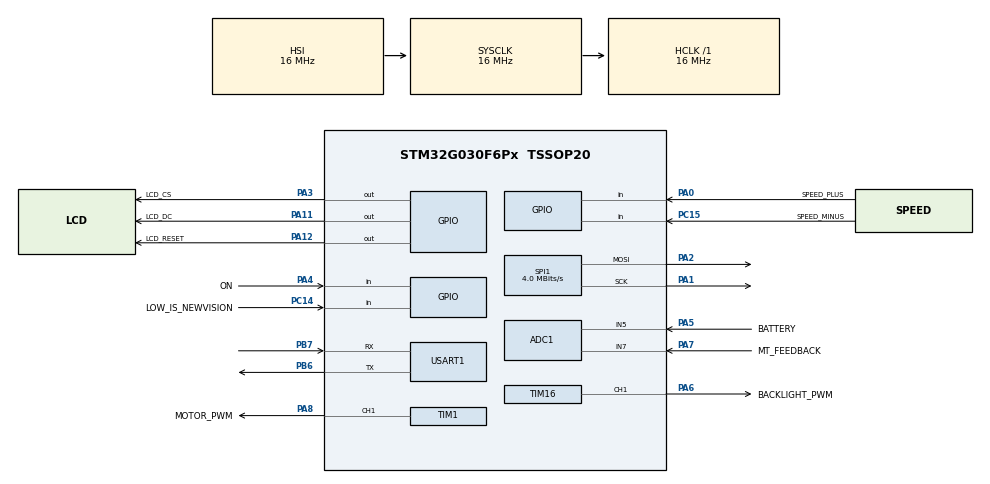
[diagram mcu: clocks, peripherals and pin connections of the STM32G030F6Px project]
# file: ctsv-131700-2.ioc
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ADC1.Channel-0\#ChannelRegularConversion=ADC_CHANNEL_7
ADC1.NbrOfConversionFlag=1
ADC1.Rank-0\#ChannelRegularConversion=1
ADC1.SamplingTime-0\#ChannelRegularConversion=ADC_SAMPLINGTIME_COMMON_1
ADC1.SelectedChannel=ADC_CHANNEL_5|ADC_CHANNEL_7
ADC1.master=1
Mcu.Family=STM32G0
Mcu.Name=STM32G030F6Px
Mcu.Package=TSSOP20
NVIC.TIM14_IRQn=true\:0\:0\:false\:false\:true\:true\:true
NVIC.TIM17_IRQn=true\:0\:0\:false\:false\:true\:true\:true
NVIC.TIM1_CC_IRQn=true\:0\:0\:false\:false\:true\:true\:true
PA0.GPIO_Label=SPEED_PLUS
PA0.GPIO_PuPd=GPIO_PULLUP
PA0.Signal=GPIO_Input
PA1.Mode=TX_Only_Simplex_Unidirect_Master
PA1.Signal=SPI1_SCK
PA11\ [PA9].GPIO_Label=LCD_DC
PA11\ [PA9].Signal=GPIO_Output
PA12\ [PA10].GPIO_Label=LCD_RESET
PA12\ [PA10].Signal=GPIO_Output
PA13.Mode=Serial_Wire
PA13.Signal=SYS_SWDIO
PA14-BOOT0.Mode=Serial_Wire
PA14-BOOT0.Signal=SYS_SWCLK
PA2.Mode=TX_Only_Simplex_Unidirect_Master
PA2.Signal=SPI1_MOSI
PA3.GPIO_Label=LCD_CS
PA3.Signal=GPIO_Output
PA4.GPIO_Label=ON
PA4.GPIO_PuPd=GPIO_PULLUP
PA4.Signal=GPIO_Input
PA5.GPIO_Label=BATTERY
PA5.Mode=IN5
PA5.Signal=ADC1_IN5
PA6.GPIO_Label=BACKLIGHT_PWM
PA6.Signal=S_TIM16_CH1
PA7.GPIO_Label=MT_FEEDBACK
PA7.Mode=IN7
PA7.Signal=ADC1_IN7
PA8.GPIO_Label=MOTOR_PWM
PA8.Signal=S_TIM1_CH1
PB6.Mode=Asynchronous
PB6.Signal=USART1_TX
PB7.Mode=Asynchronous
PB7.Signal=USART1_RX
PC14-OSC32_IN\ (PC14).GPIO_Label=LOW_IS_NEWVISION
PC14-OSC32_IN\ (PC14).GPIO_PuPd=GPIO_PULLUP
PC14-OSC32_IN\ (PC14).Signal=GPIO_Input
PC15-OSC32_OUT\ (PC15).GPIO_Label=SPEED_MINUS
PC15-OSC32_OUT\ (PC15).Signal=GPIO_Input
ProjectManager.HeapSize=0x200
ProjectManager.StackSize=0x400
ProjectManager.TargetToolchain=STM32CubeIDE
RCC.AHBFreq_Value=16000000
RCC.CortexFreq_Value=16000000
RCC.EXTERNAL_CLOCK_VALUE=12288000
RCC.HCLKFreq_Value=16000000
RCC.HSE_VALUE=8000000
RCC.HSI_VALUE=16000000
RCC.LSE_VALUE=32768
RCC.SYSCLKFreq_VALUE=16000000
RCC.VCOOutputFreq_Value=128000000
RCC.VDD_VALUE=2
SH.S_TIM16_CH1.0=TIM16_CH1,PWM Generation1 CH1
SH.S_TIM1_CH1.0=TIM1_CH1,PWM Generation1 CH1
SPI1.BaudRatePrescaler=SPI_BAUDRATEPRESCALER_4
SPI1.CalculateBaudRate=4.0 MBits/s
SPI1.Direction=SPI_DIRECTION_2LINES
SPI1.Mode=SPI_MODE_MASTER
SPI1.VirtualType=VM_MASTER
TIM1.Channel-PWM\ Generation1\ CH1=TIM_CHANNEL_1
TIM1.OCFastMode_PWM-PWM\ Generation1\ CH1=TIM_OCFAST_ENABLE
TIM1.OCPolarity_1=TIM_OCPOLARITY_HIGH
TIM1.Period=1000
TIM1.Prescaler=32
TIM1.Pulse-PWM\ Generation1\ CH1=2
TIM14.Period=1000
TIM14.Prescaler=16
TIM16.Channel=TIM_CHANNEL_1
TIM16.Period=1000
TIM16.Prescaler=16
TIM16.Pulse=500
TIM17.Period=1000
TIM17.Prescaler=16
USART1.VirtualMode-Asynchronous=VM_ASYNC
VP_TIM14_VS_ClockSourceINT.Mode=Enable_Timer
VP_TIM16_VS_ClockSourceINT.Mode=Enable_Timer
VP_TIM17_VS_ClockSourceINT.Mode=Enable_Timer
VP_TIM1_VS_ClockSourceINT.Mode=Internal
board=custom

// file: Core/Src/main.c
/* USER CODE BEGIN Header */
/**
  ******************************************************************************
  * @file           : main.c
  * @brief          : Main program body
  ******************************************************************************
  * @attention
  *
  * <h2><center>&copy; Copyright (c) 2020 STMicroelectronics.
  * All rights reserved.</center></h2>
  *
  * This software component is licensed by ST under BSD 3-Clause license,
  * the "License"; You may not use this file except in compliance with the
  * License. You may obtain a copy of the License at:
  *                        opensource.org/licenses/BSD-3-Clause
  *
  ******************************************************************************
  */
/* USER CODE END Header */
#include "main.h"

ADC_HandleTypeDef hadc1;

SPI_HandleTypeDef hspi1;

TIM_HandleTypeDef htim1;
TIM_HandleTypeDef htim14;
TIM_HandleTypeDef htim16;
TIM_HandleTypeDef htim17;

UART_HandleTypeDef huart1;

void SystemClock_Config(void);
static void MX_GPIO_Init(void);
static void MX_SPI1_Init(void);
static void MX_TIM1_Init(void);
static void MX_TIM16_Init(void);
static void MX_TIM17_Init(void);
static void MX_TIM14_Init(void);
static void MX_ADC1_Init(void);
static void MX_USART1_UART_Init(void);
/* USER CODE BEGIN PFP */

const uint16_t default_duty = 450;
uint16_t    current_duty = 0;

uint8_t     time_set = START_TIME;
uint8_t     stored_time_set = START_TIME;
uint8_t     status = STOPPED;
uint8_t     len = 0;

Video       lcd_wr_stct;
uint16_t	down_counter = TIM17_COUNTS;
uint16_t	poll_counter = TIM14_COUNTS;
uint16_t	ms10_flag = 0;
uint8_t     speed_plus_status = 0;
uint8_t     speed_minus_status = 0;
uint8_t     on_status = 0;

uint32_t	tim1_value = STEP;
uint32_t	ramp_tim1 = 0;
uint32_t	rampstep_tim1 = RAMP_STEP;

uint32_t	finished_flag = 0;
uint32_t	finished_time = 0;

void TIM1_IRQ_Callback(void)
{
	ramp_tim1++;
	if ( ramp_tim1 > RAMP_STEP )
	{
		ramp_tim1 = 0;
		tim1_value += STEP;
		if ( tim1_value < LIMIT )
			htim1.Instance->CCR1 = tim1_value;
	}
}

void TIM14_IRQ_Callback(void)
{
	poll_counter--;
	if ( poll_counter == 0 )
	{
		poll_counter = TIM14_COUNTS;
		ms10_flag = 1;
	}
}

void print_set_speed(void)
{
	sprintf(lcd_wr_stct.line, "Set: %d\" ", time_set);
	lcd_wr_stct.xpos = 10;
	lcd_wr_stct.ypos = (uint8_t)(ST7735_HEIGHT-CHAR_H)/2;
	if ( time_set < 10 )
	{
		lcd_wr_stct.fore_color = ST7735_RED;
	}
	LcdWrite16x26(&lcd_wr_stct);
}

void print_work_end(void)
{
	sprintf(lcd_wr_stct.line, "Finished !!" );
	lcd_wr_stct.xpos = 10;
	lcd_wr_stct.ypos = (uint8_t)(ST7735_HEIGHT-CHAR_H)/2;
	lcd_wr_stct.fore_color = ST7735_GREEN;
	LcdWrite16x26(&lcd_wr_stct);
	lcd_wr_stct.fore_color = ST7735_WHITE;
}

void TIM17_IRQ_Callback(void)
{
	down_counter--;
	if ( down_counter == 0 )
	{
		down_counter = TIM17_COUNTS;
		time_set--;
		if ( time_set == 0 )
		{
			HAL_TIM_Base_Stop_IT(&htim17);
			time_set = stored_time_set;
			status = STOPPED;
			tim1_value = STEP;
			htim1.Instance->CCR1 = tim1_value;
			HAL_TIM_PWM_Stop_IT(&htim1,TIM_CHANNEL_1);
			finished_flag = 1;
			finished_time = FINISHED_TIME_BANNER;
		}
		else
			print_set_speed();
		}
}

/* USER CODE END PFP */

int main(void)
{

  /* MCU Configuration--------------------------------------------------------*/

  /* Reset of all peripherals, Initializes the Flash interface and the Systick. */
  HAL_Init();

  /* Configure the system clock */
  SystemClock_Config();

  /* Initialize all configured peripherals */
  MX_GPIO_Init();
  MX_SPI1_Init();
  MX_TIM1_Init();
  MX_TIM16_Init();
  MX_TIM17_Init();
  MX_TIM14_Init();
  MX_ADC1_Init();
  MX_USART1_UART_Init();
  /* USER CODE BEGIN 2 */

  lcd_wr_stct.bkg_color = ST7735_BLACK;
  lcd_wr_stct.fore_color = ST7735_WHITE;

  LcdInit();

  //htim1.Instance->CCR1 = 0;

  HAL_Delay(2000);
  LcdClearScreen(&lcd_wr_stct);
  LcdSetBrightness(FULL_BRIGHTNESS);
  print_set_speed();
  HAL_TIM_Base_Start_IT(&htim14);

  /* USER CODE END 2 */

  /* Infinite loop */
  /* USER CODE BEGIN WHILE */
  while (1)
  {
	  if ( ms10_flag == 1 )
	  {
			ms10_flag = 0;
			if ( finished_flag == 1)
			{
				if (  finished_time == FINISHED_TIME_BANNER )
				{
					LcdSetBrightness(FULL_BRIGHTNESS);
					print_work_end();
				}
				finished_time--;
				if ( finished_time == 0 )
				{
					LcdClearScreen(&lcd_wr_stct);
					print_set_speed();
					finished_flag = 0;
				}
			}
			if ( status == STOPPED )
			{
				if (!HAL_GPIO_ReadPin(SPEED_PLUS_GPIO_Port, SPEED_PLUS_Pin))
				{
					if ( speed_plus_status ==0 )
					{
						speed_plus_status = 1;
						{
							if ( time_set < MAX_TIME )
								time_set += TIME_STEP;
							stored_time_set = time_set;
							print_set_speed();
						}
					}
				}
				else
				{
					speed_plus_status = 0;
				}
				if (!HAL_GPIO_ReadPin(SPEED_MINUS_GPIO_Port, SPEED_MINUS_Pin))
				{
					if ( speed_minus_status ==0 )
					{
						speed_minus_status = 1;
						{
							if ( time_set > MIN_TIME )
								time_set -= TIME_STEP;
							stored_time_set = time_set;
							print_set_speed();
						}
					}
				}
				else
				{
					speed_minus_status = 0;
				}
			}

			if (!HAL_GPIO_ReadPin(ON_GPIO_Port, ON_Pin))
			{
				if ( on_status == 0 )
				{
					on_status = 1;
					if ( status == STOPPED )
					{
						//LcdSetBrightness(LOW_BRIGHTNESS);
						LcdSetBrightness(FULL_BRIGHTNESS);
						print_set_speed();
						ramp_tim1 = 0;
						tim1_value = STEP;
						HAL_TIM_Base_Start_IT(&htim17);
						HAL_TIM_PWM_Start_IT(&htim1,TIM_CHANNEL_1);
						status = RUNNING;
					}
					else
					{
						tim1_value = STEP;
						htim1.Instance->CCR1 = tim1_value;
						HAL_TIM_PWM_Stop_IT(&htim1,TIM_CHANNEL_1);
						HAL_TIM_Base_Stop_IT(&htim17);
						time_set = stored_time_set;
						print_set_speed();
						status = STOPPED;
						LcdSetBrightness(FULL_BRIGHTNESS);
					}
				}
			}
			else
			{
				on_status = 0;
			}
	  }

    /* USER CODE END WHILE */

  }
}

void SystemClock_Config(void)
{
  RCC_OscInitTypeDef RCC_OscInitStruct = {0};
  RCC_ClkInitTypeDef RCC_ClkInitStruct = {0};
  RCC_PeriphCLKInitTypeDef PeriphClkInit = {0};

  /** Configure the main internal regulator output voltage
  */
  HAL_PWREx_ControlVoltageScaling(PWR_REGULATOR_VOLTAGE_SCALE1);
  /** Initializes the RCC Oscillators according to the specified parameters
  * in the RCC_OscInitTypeDef structure.
  */
  RCC_OscInitStruct.OscillatorType = RCC_OSCILLATORTYPE_HSI;
  RCC_OscInitStruct.HSIState = RCC_HSI_ON;
  RCC_OscInitStruct.HSIDiv = RCC_HSI_DIV1;
  RCC_OscInitStruct.HSICalibrationValue = RCC_HSICALIBRATION_DEFAULT;
  RCC_OscInitStruct.PLL.PLLState = RCC_PLL_NONE;
  if (HAL_RCC_OscConfig(&RCC_OscInitStruct) != HAL_OK)
  {
    Error_Handler();
  }
  /** Initializes the CPU, AHB and APB buses clocks
  */
  RCC_ClkInitStruct.ClockType = RCC_CLOCKTYPE_HCLK|RCC_CLOCKTYPE_SYSCLK
                              |RCC_CLOCKTYPE_PCLK1;
  RCC_ClkInitStruct.SYSCLKSource = RCC_SYSCLKSOURCE_HSI;
  RCC_ClkInitStruct.AHBCLKDivider = RCC_SYSCLK_DIV1;
  RCC_ClkInitStruct.APB1CLKDivider = RCC_HCLK_DIV1;

  if (HAL_RCC_ClockConfig(&RCC_ClkInitStruct, FLASH_LATENCY_0) != HAL_OK)
  {
    Error_Handler();
  }
  /** Initializes the peripherals clocks
  */
  PeriphClkInit.PeriphClockSelection = RCC_PERIPHCLK_USART1|RCC_PERIPHCLK_ADC;
  PeriphClkInit.Usart1ClockSelection = RCC_USART1CLKSOURCE_PCLK1;
  PeriphClkInit.AdcClockSelection = RCC_ADCCLKSOURCE_SYSCLK;
  if (HAL_RCCEx_PeriphCLKConfig(&PeriphClkInit) != HAL_OK)
  {
    Error_Handler();
  }
}

static void MX_ADC1_Init(void)
{

  ADC_ChannelConfTypeDef sConfig = {0};

  /** Configure the global features of the ADC (Clock, Resolution, Data Alignment and number of conversion)
  */
  hadc1.Instance = ADC1;
  hadc1.Init.ClockPrescaler = ADC_CLOCK_SYNC_PCLK_DIV2;
  hadc1.Init.Resolution = ADC_RESOLUTION_12B;
  hadc1.Init.DataAlign = ADC_DATAALIGN_RIGHT;
  hadc1.Init.ScanConvMode = ADC_SCAN_DISABLE;
  hadc1.Init.EOCSelection = ADC_EOC_SINGLE_CONV;
  hadc1.Init.LowPowerAutoWait = DISABLE;
  hadc1.Init.LowPowerAutoPowerOff = DISABLE;
  hadc1.Init.ContinuousConvMode = DISABLE;
  hadc1.Init.NbrOfConversion = 1;
  hadc1.Init.DiscontinuousConvMode = DISABLE;
  hadc1.Init.ExternalTrigConv = ADC_SOFTWARE_START;
  hadc1.Init.ExternalTrigConvEdge = ADC_EXTERNALTRIGCONVEDGE_NONE;
  hadc1.Init.DMAContinuousRequests = DISABLE;
  hadc1.Init.Overrun = ADC_OVR_DATA_PRESERVED;
  hadc1.Init.SamplingTimeCommon1 = ADC_SAMPLETIME_1CYCLE_5;
  hadc1.Init.SamplingTimeCommon2 = ADC_SAMPLETIME_1CYCLE_5;
  hadc1.Init.OversamplingMode = DISABLE;
  hadc1.Init.TriggerFrequencyMode = ADC_TRIGGER_FREQ_HIGH;
  if (HAL_ADC_Init(&hadc1) != HAL_OK)
  {
    Error_Handler();
  }
  /** Configure Regular Channel
  */
  sConfig.Channel = ADC_CHANNEL_7;
  sConfig.Rank = ADC_REGULAR_RANK_1;
  sConfig.SamplingTime = ADC_SAMPLINGTIME_COMMON_1;
  if (HAL_ADC_ConfigChannel(&hadc1, &sConfig) != HAL_OK)
  {
    Error_Handler();
  }

}

static void MX_SPI1_Init(void)
{

  /* SPI1 parameter configuration*/
  hspi1.Instance = SPI1;
  hspi1.Init.Mode = SPI_MODE_MASTER;
  hspi1.Init.Direction = SPI_DIRECTION_2LINES;
  hspi1.Init.DataSize = SPI_DATASIZE_8BIT;
  hspi1.Init.CLKPolarity = SPI_POLARITY_LOW;
  hspi1.Init.CLKPhase = SPI_PHASE_1EDGE;
  hspi1.Init.NSS = SPI_NSS_SOFT;
  hspi1.Init.BaudRatePrescaler = SPI_BAUDRATEPRESCALER_4;
  hspi1.Init.FirstBit = SPI_FIRSTBIT_MSB;
  hspi1.Init.TIMode = SPI_TIMODE_DISABLE;
  hspi1.Init.CRCCalculation = SPI_CRCCALCULATION_DISABLE;
  hspi1.Init.CRCPolynomial = 7;
  hspi1.Init.CRCLength = SPI_CRC_LENGTH_DATASIZE;
  hspi1.Init.NSSPMode = SPI_NSS_PULSE_ENABLE;
  if (HAL_SPI_Init(&hspi1) != HAL_OK)
  {
    Error_Handler();
  }

}

static void MX_TIM1_Init(void)
{

  TIM_ClockConfigTypeDef sClockSourceConfig = {0};
  TIM_MasterConfigTypeDef sMasterConfig = {0};
  TIM_OC_InitTypeDef sConfigOC = {0};
  TIM_BreakDeadTimeConfigTypeDef sBreakDeadTimeConfig = {0};

  htim1.Instance = TIM1;
  htim1.Init.Prescaler = 32;
  htim1.Init.CounterMode = TIM_COUNTERMODE_UP;
  htim1.Init.Period = 1000;
  htim1.Init.ClockDivision = TIM_CLOCKDIVISION_DIV1;
  htim1.Init.RepetitionCounter = 0;
  htim1.Init.AutoReloadPreload = TIM_AUTORELOAD_PRELOAD_DISABLE;
  if (HAL_TIM_Base_Init(&htim1) != HAL_OK)
  {
    Error_Handler();
  }
  sClockSourceConfig.ClockSource = TIM_CLOCKSOURCE_INTERNAL;
  if (HAL_TIM_ConfigClockSource(&htim1, &sClockSourceConfig) != HAL_OK)
  {
    Error_Handler();
  }
  if (HAL_TIM_PWM_Init(&htim1) != HAL_OK)
  {
    Error_Handler();
  }
  sMasterConfig.MasterOutputTrigger = TIM_TRGO_RESET;
  sMasterConfig.MasterOutputTrigger2 = TIM_TRGO2_RESET;
  sMasterConfig.MasterSlaveMode = TIM_MASTERSLAVEMODE_DISABLE;
  if (HAL_TIMEx_MasterConfigSynchronization(&htim1, &sMasterConfig) != HAL_OK)
  {
    Error_Handler();
  }
  sConfigOC.OCMode = TIM_OCMODE_PWM1;
  sConfigOC.Pulse = 2;
  sConfigOC.OCPolarity = TIM_OCPOLARITY_HIGH;
  sConfigOC.OCNPolarity = TIM_OCNPOLARITY_HIGH;
  sConfigOC.OCFastMode = TIM_OCFAST_ENABLE;
  sConfigOC.OCIdleState = TIM_OCIDLESTATE_RESET;
  sConfigOC.OCNIdleState = TIM_OCNIDLESTATE_RESET;
  if (HAL_TIM_PWM_ConfigChannel(&htim1, &sConfigOC, TIM_CHANNEL_1) != HAL_OK)
  {
    Error_Handler();
  }
  sBreakDeadTimeConfig.OffStateRunMode = TIM_OSSR_DISABLE;
  sBreakDeadTimeConfig.OffStateIDLEMode = TIM_OSSI_DISABLE;
  sBreakDeadTimeConfig.LockLevel = TIM_LOCKLEVEL_OFF;
  sBreakDeadTimeConfig.DeadTime = 0;
  sBreakDeadTimeConfig.BreakState = TIM_BREAK_DISABLE;
  sBreakDeadTimeConfig.BreakPolarity = TIM_BREAKPOLARITY_HIGH;
  sBreakDeadTimeConfig.BreakFilter = 0;
  sBreakDeadTimeConfig.BreakAFMode = TIM_BREAK_AFMODE_INPUT;
  sBreakDeadTimeConfig.Break2State = TIM_BREAK2_DISABLE;
  sBreakDeadTimeConfig.Break2Polarity = TIM_BREAK2POLARITY_HIGH;
  sBreakDeadTimeConfig.Break2Filter = 0;
  sBreakDeadTimeConfig.Break2AFMode = TIM_BREAK_AFMODE_INPUT;
  sBreakDeadTimeConfig.AutomaticOutput = TIM_AUTOMATICOUTPUT_DISABLE;
  if (HAL_TIMEx_ConfigBreakDeadTime(&htim1, &sBreakDeadTimeConfig) != HAL_OK)
  {
    Error_Handler();
  }
  HAL_TIM_MspPostInit(&htim1);

}

static void MX_TIM14_Init(void)
{

  htim14.Instance = TIM14;
  htim14.Init.Prescaler = 16;
  htim14.Init.CounterMode = TIM_COUNTERMODE_UP;
  htim14.Init.Period = 1000;
  htim14.Init.ClockDivision = TIM_CLOCKDIVISION_DIV1;
  htim14.Init.AutoReloadPreload = TIM_AUTORELOAD_PRELOAD_DISABLE;
  if (HAL_TIM_Base_Init(&htim14) != HAL_OK)
  {
    Error_Handler();
  }

}

static void MX_TIM16_Init(void)
{

  TIM_OC_InitTypeDef sConfigOC = {0};
  TIM_BreakDeadTimeConfigTypeDef sBreakDeadTimeConfig = {0};

  htim16.Instance = TIM16;
  htim16.Init.Prescaler = 16;
  htim16.Init.CounterMode = TIM_COUNTERMODE_UP;
  htim16.Init.Period = 1000;
  htim16.Init.ClockDivision = TIM_CLOCKDIVISION_DIV1;
  htim16.Init.RepetitionCounter = 0;
  htim16.Init.AutoReloadPreload = TIM_AUTORELOAD_PRELOAD_DISABLE;
  if (HAL_TIM_Base_Init(&htim16) != HAL_OK)
  {
    Error_Handler();
  }
  if (HAL_TIM_PWM_Init(&htim16) != HAL_OK)
  {
    Error_Handler();
  }
  sConfigOC.OCMode = TIM_OCMODE_PWM1;
  sConfigOC.Pulse = 500;
  sConfigOC.OCPolarity = TIM_OCPOLARITY_HIGH;
  sConfigOC.OCNPolarity = TIM_OCNPOLARITY_HIGH;
  sConfigOC.OCFastMode = TIM_OCFAST_DISABLE;
  sConfigOC.OCIdleState = TIM_OCIDLESTATE_RESET;
  sConfigOC.OCNIdleState = TIM_OCNIDLESTATE_RESET;
  if (HAL_TIM_PWM_ConfigChannel(&htim16, &sConfigOC, TIM_CHANNEL_1) != HAL_OK)
  {
    Error_Handler();
  }
  sBreakDeadTimeConfig.OffStateRunMode = TIM_OSSR_DISABLE;
  sBreakDeadTimeConfig.OffStateIDLEMode = TIM_OSSI_DISABLE;
  sBreakDeadTimeConfig.LockLevel = TIM_LOCKLEVEL_OFF;
  sBreakDeadTimeConfig.DeadTime = 0;
  sBreakDeadTimeConfig.BreakState = TIM_BREAK_DISABLE;
  sBreakDeadTimeConfig.BreakPolarity = TIM_BREAKPOLARITY_HIGH;
  sBreakDeadTimeConfig.BreakFilter = 0;
  sBreakDeadTimeConfig.AutomaticOutput = TIM_AUTOMATICOUTPUT_DISABLE;
  if (HAL_TIMEx_ConfigBreakDeadTime(&htim16, &sBreakDeadTimeConfig) != HAL_OK)
  {
    Error_Handler();
  }
  HAL_TIM_MspPostInit(&htim16);

}

static void MX_TIM17_Init(void)
{

  htim17.Instance = TIM17;
  htim17.Init.Prescaler = 16;
  htim17.Init.CounterMode = TIM_COUNTERMODE_UP;
  htim17.Init.Period = 1000;
  htim17.Init.ClockDivision = TIM_CLOCKDIVISION_DIV1;
  htim17.Init.RepetitionCounter = 0;
  htim17.Init.AutoReloadPreload = TIM_AUTORELOAD_PRELOAD_DISABLE;
  if (HAL_TIM_Base_Init(&htim17) != HAL_OK)
  {
    Error_Handler();
  }

}

static void MX_USART1_UART_Init(void)
{

  huart1.Instance = USART1;
  huart1.Init.BaudRate = 115200;
  huart1.Init.WordLength = UART_WORDLENGTH_8B;
  huart1.Init.StopBits = UART_STOPBITS_1;
  huart1.Init.Parity = UART_PARITY_NONE;
  huart1.Init.Mode = UART_MODE_TX_RX;
  huart1.Init.HwFlowCtl = UART_HWCONTROL_NONE;
  huart1.Init.OverSampling = UART_OVERSAMPLING_16;
  huart1.Init.OneBitSampling = UART_ONE_BIT_SAMPLE_DISABLE;
  huart1.Init.ClockPrescaler = UART_PRESCALER_DIV1;
  huart1.AdvancedInit.AdvFeatureInit = UART_ADVFEATURE_NO_INIT;
  if (HAL_UART_Init(&huart1) != HAL_OK)
  {
    Error_Handler();
  }
  if (HAL_UARTEx_SetTxFifoThreshold(&huart1, UART_TXFIFO_THRESHOLD_1_8) != HAL_OK)
  {
    Error_Handler();
  }
  if (HAL_UARTEx_SetRxFifoThreshold(&huart1, UART_RXFIFO_THRESHOLD_1_8) != HAL_OK)
  {
    Error_Handler();
  }
  if (HAL_UARTEx_DisableFifoMode(&huart1) != HAL_OK)
  {
    Error_Handler();
  }

}

static void MX_GPIO_Init(void)
{
  GPIO_InitTypeDef GPIO_InitStruct = {0};

  /* GPIO Ports Clock Enable */
  __HAL_RCC_GPIOB_CLK_ENABLE();
  __HAL_RCC_GPIOC_CLK_ENABLE();
  __HAL_RCC_GPIOA_CLK_ENABLE();

  /*Configure GPIO pin Output Level */
  HAL_GPIO_WritePin(GPIOA, LCD_CS_Pin|LCD_DC_Pin|LCD_RESET_Pin, GPIO_PIN_RESET);

  /*Configure GPIO pin : LOW_IS_NEWVISION_Pin */
  GPIO_InitStruct.Pin = LOW_IS_NEWVISION_Pin;
  GPIO_InitStruct.Mode = GPIO_MODE_INPUT;
  GPIO_InitStruct.Pull = GPIO_PULLUP;
  HAL_GPIO_Init(LOW_IS_NEWVISION_GPIO_Port, &GPIO_InitStruct);

  /*Configure GPIO pin : SPEED_MINUS_Pin */
  GPIO_InitStruct.Pin = SPEED_MINUS_Pin;
  GPIO_InitStruct.Mode = GPIO_MODE_INPUT;
  GPIO_InitStruct.Pull = GPIO_NOPULL;
  HAL_GPIO_Init(SPEED_MINUS_GPIO_Port, &GPIO_InitStruct);

  /*Configure GPIO pins : SPEED_PLUS_Pin ON_Pin */
  GPIO_InitStruct.Pin = SPEED_PLUS_Pin|ON_Pin;
  GPIO_InitStruct.Mode = GPIO_MODE_INPUT;
  GPIO_InitStruct.Pull = GPIO_PULLUP;
  HAL_GPIO_Init(GPIOA, &GPIO_InitStruct);

  /*Configure GPIO pins : LCD_CS_Pin LCD_DC_Pin LCD_RESET_Pin */
  GPIO_InitStruct.Pin = LCD_CS_Pin|LCD_DC_Pin|LCD_RESET_Pin;
  GPIO_InitStruct.Mode = GPIO_MODE_OUTPUT_PP;
  GPIO_InitStruct.Pull = GPIO_NOPULL;
  GPIO_InitStruct.Speed = GPIO_SPEED_FREQ_LOW;
  HAL_GPIO_Init(GPIOA, &GPIO_InitStruct);

}

void Error_Handler(void)
{
}

/************************ (C) COPYRIGHT STMicroelectronics *****END OF FILE****/
